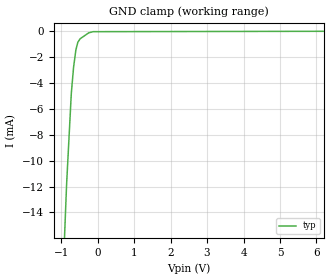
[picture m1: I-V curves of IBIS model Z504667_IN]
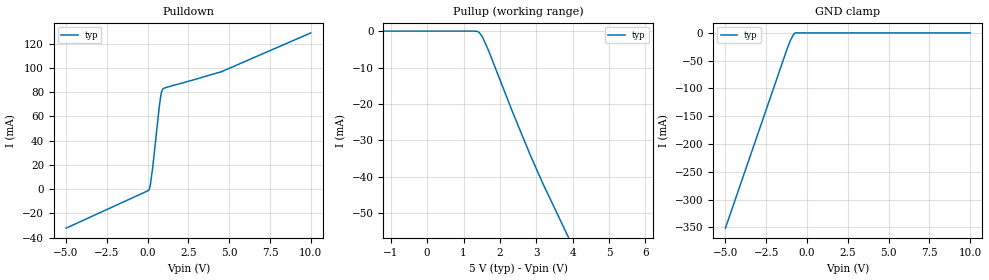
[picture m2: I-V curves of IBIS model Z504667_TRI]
| YOU ARE ONLY AUTHORIZED TO USE THIS SOFTWARE
| ACCORDING TO LICENSOR'S LICENSE RESTRICTIONS.
[IBIS Ver] 3.1
[File Name] sn74ls373dw.ibs
[File Rev] 2.0
[Source] Measured and created by ICX Technology
[Date] Friday 7/14/00 9:08:20 AM
[Copyright]
| (C) COPYRIGHT 1993-2000
| MENTOR GRAPHICS CORPORATION
| ICX STANDARD LIBRARY, ICX PROJECT MODELING,
| ICX CUSTOM MODELING, ICX VENDOR MODEL
| ALL RIGHTS RESERVED.
| THE FOLLOWING ARE TRADEMARKS OR SERVICE MARKS OF
| MENTOR GRAPHICS CORPORATION:ICX (R), ICX STANDARD
| LIBRARY(R), ICX PROJECT MODELING(R), ICX CUSTOM
| MODELING(R), qualityIBIS(TM), MODELVIEWER(TM),
| AND MODELEDITOR(TM)
| ALL COPIES OF SOFTWARE, INCLUDING BUT NOT LIMITED TO
| ANY MODIFICATIONS, ENHANCEMENTS OR DERIVATIVE WORKS,
| MUST CONTAIN ALL MENTOR GRAPHICS CORPORATION'S
| NOTICES AND LEGENDS, INCLUDING THOSE EMBEDDED IN
| SOFTWARE AND THOSE AFFIXED TO SOFTWARE MEDIUM
| AND CONTAINER, AS RECEIVED FROM MENTOR GRAPHICS
| CORPORATION.
|  ZAP Model Builder 2.7
[Component] SN74LS373DW
[Manufacturer] OnSemiconductor
[Package]
| variable   typ   min   max
R_pkg  .178ohms NA NA
L_pkg  4.43nH NA NA
C_pkg  .62pF NA NA
[Pin] signal_name  model_name  R_pin  L_pin C_pin
1 _G Z504667_IN .186 5.37n .68p
2 Q0 Z504667_TRI .182 4.89n .65p
3 D0 Z504667_IN .178 4.42n .62p
4 D1 Z504667_IN .174 3.96n .59p
5 Q1 Z504667_TRI .17 3.51n .56p
6 Q2 Z504667_TRI .17 3.51n .56p
7 D2 Z504667_IN .174 3.96n .59p
8 D3 Z504667_IN .178 4.42n .62p
9 Q3 Z504667_TRI .182 4.89n .65p
10 GROUND GND .186 5.37n .68p
11 C Z504667_IN .186 5.37n .68p
12 Q4 Z504667_TRI .182 4.89n .65p
13 D4 Z504667_IN .178 4.42n .62p
14 D5 Z504667_IN .174 3.96n .59p
15 Q5 Z504667_TRI .17 3.51n .56p
16 Q6 Z504667_TRI .17 3.51n .56p
17 D6 Z504667_IN .174 3.96n .59p
18 D7 Z504667_IN .178 4.42n .62p
19 Q7 Z504667_TRI .182 4.89n .65p
20 VCC POWER .186 5.37n .68p
| Models and submodels in the file (2): Z504667_IN (Input), Z504667_TRI (3-state)
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| (C) COPYRIGHT 1993-2000
| MENTOR GRAPHICS CORPORATION
| ICX STANDARD LIBRARY, ICX PROJECT MODELING,
| ICX CUSTOM MODELING, ICX VENDOR MODEL
| ALL RIGHTS RESERVED.
| THE FOLLOWING ARE TRADEMARKS OR SERVICE MARKS OF
| MENTOR GRAPHICS CORPORATION:ICX (R), ICX STANDARD
| LIBRARY(R), ICX PROJECT MODELING(R), ICX CUSTOM
| MODELING(R), qualityIBIS(TM), MODELVIEWER(TM),
| AND MODELEDITOR(TM)
| ALL COPIES OF SOFTWARE, INCLUDING BUT NOT LIMITED TO
| ANY MODIFICATIONS, ENHANCEMENTS OR DERIVATIVE WORKS,
| MUST CONTAIN ALL MENTOR GRAPHICS CORPORATION'S
| NOTICES AND LEGENDS, INCLUDING THOSE EMBEDDED IN
| SOFTWARE AND THOSE AFFIXED TO SOFTWARE MEDIUM
| AND CONTAINER, AS RECEIVED FROM MENTOR GRAPHICS
| CORPORATION.
| Model Application Version 1.89 2/18/99.
[Model] Z504667_IN
Model_type Input
Vinl = 800.0mV
Vinh = 2.000V
C_comp 4.000pF NA NA
| variable typ   min   max
[Voltage Range] 5.000V NA NA
[GND Clamp Reference] 0.000V NA NA
[POWER Clamp Reference] 5.000V NA NA
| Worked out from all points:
|   GND clamp passes 1 mA (typ) near -0.56 V on its own axis
[GND Clamp]
-5V       -309.5mA   NA         NA
-849.5mV  -11.82mA   NA         NA
-720.9mV  -4.802mA   NA         NA
-658.6mV  -2.766mA   NA         NA
-595mV    -1.422mA   NA         NA
-541.7mV  -838.6uA   NA         NA
-479.7mV  -567uA     NA         NA
-245.1mV  -106.6uA   NA         NA
-122.6mV  -15.15uA   NA         NA
10V       31.41uA    NA         NA
[POWER Clamp]
-5V       0A         NA         NA
10V       0A         NA         NA
| (C) COPYRIGHT 1993-2000
| MENTOR GRAPHICS CORPORATION
| ICX STANDARD LIBRARY, ICX PROJECT MODELING,
| ICX CUSTOM MODELING, ICX VENDOR MODEL
| ALL RIGHTS RESERVED.
| THE FOLLOWING ARE TRADEMARKS OR SERVICE MARKS OF
| MENTOR GRAPHICS CORPORATION:ICX (R), ICX STANDARD
| LIBRARY(R), ICX PROJECT MODELING(R), ICX CUSTOM
| MODELING(R), qualityIBIS(TM), MODELVIEWER(TM),
| AND MODELEDITOR(TM)
| ALL COPIES OF SOFTWARE, INCLUDING BUT NOT LIMITED TO
| ANY MODIFICATIONS, ENHANCEMENTS OR DERIVATIVE WORKS,
| MUST CONTAIN ALL MENTOR GRAPHICS CORPORATION'S
| NOTICES AND LEGENDS, INCLUDING THOSE EMBEDDED IN
| SOFTWARE AND THOSE AFFIXED TO SOFTWARE MEDIUM
| AND CONTAINER, AS RECEIVED FROM MENTOR GRAPHICS
| CORPORATION.
| Model Application Version 1.89 2/18/99.
[Model] Z504667_TRI
Model_type 3-state
Vref=588.0mV
Rref=588.5ohms
Cref=45.00pF
Vmeas=1.300V
C_comp 8.000pF NA NA
| variable typ   min   max
[Voltage Range] 5.000V NA NA
[POWER Clamp Reference] 5.000V NA NA
[Pullup Reference] 5.000V NA NA
[Pulldown Reference] 0.000V NA NA
[GND Clamp Reference] 0.000V NA NA
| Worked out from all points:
|   slope of the pulldown table from 0 to 0.75 V, typ, clamps not added: 10.2 ohm
|   GND clamp passes 1 mA (typ) near -0.76 V on its own axis
[GND Clamp]
-5V       -351.4mA   NA         NA
-1.171V   -24.81mA   NA         NA
-1.005V   -13.04mA   NA         NA
-854.2mV  -4.385mA   NA         NA
-732.2mV  0A         NA         NA
10V       0A         NA         NA
[Pulldown]
-5V       -32.23mA   NA         NA
87.93mV   -466.3uA   NA         NA
150.9mV   2.072mA    NA         NA
312.5mV   18mA       NA         NA
713mV     68.04mA    NA         NA
801.4mV   76.8mA     NA         NA
857mV     80.35mA    NA         NA
937.5mV   82.59mA    NA         NA
1.553V    85.54mA    NA         NA
4.509V    96.71mA    NA         NA
10V       128.8mA    NA         NA
[Pullup]
-5V       -1.966uA   NA         NA
1.3V      -5.056uA   NA         NA
1.382V    -97.44uA   NA         NA
1.437V    -430.4uA   NA         NA
1.527V    -1.742mA   NA         NA
1.689V    -5.371mA   NA         NA
2.334V    -21.85mA   NA         NA
2.847V    -34.29mA   NA         NA
3.188V    -41.95mA   NA         NA
10V       -184.9mA   NA         NA
[POWER Clamp]
-5V       0A         NA         NA
10V       0A         NA         NA
[Ramp]
| variable typ min max
dV/dt_r 1.902/7.233n NA NA
dV/dt_f 1.902/1.963n NA NA
R_load = 500.0Ohms
